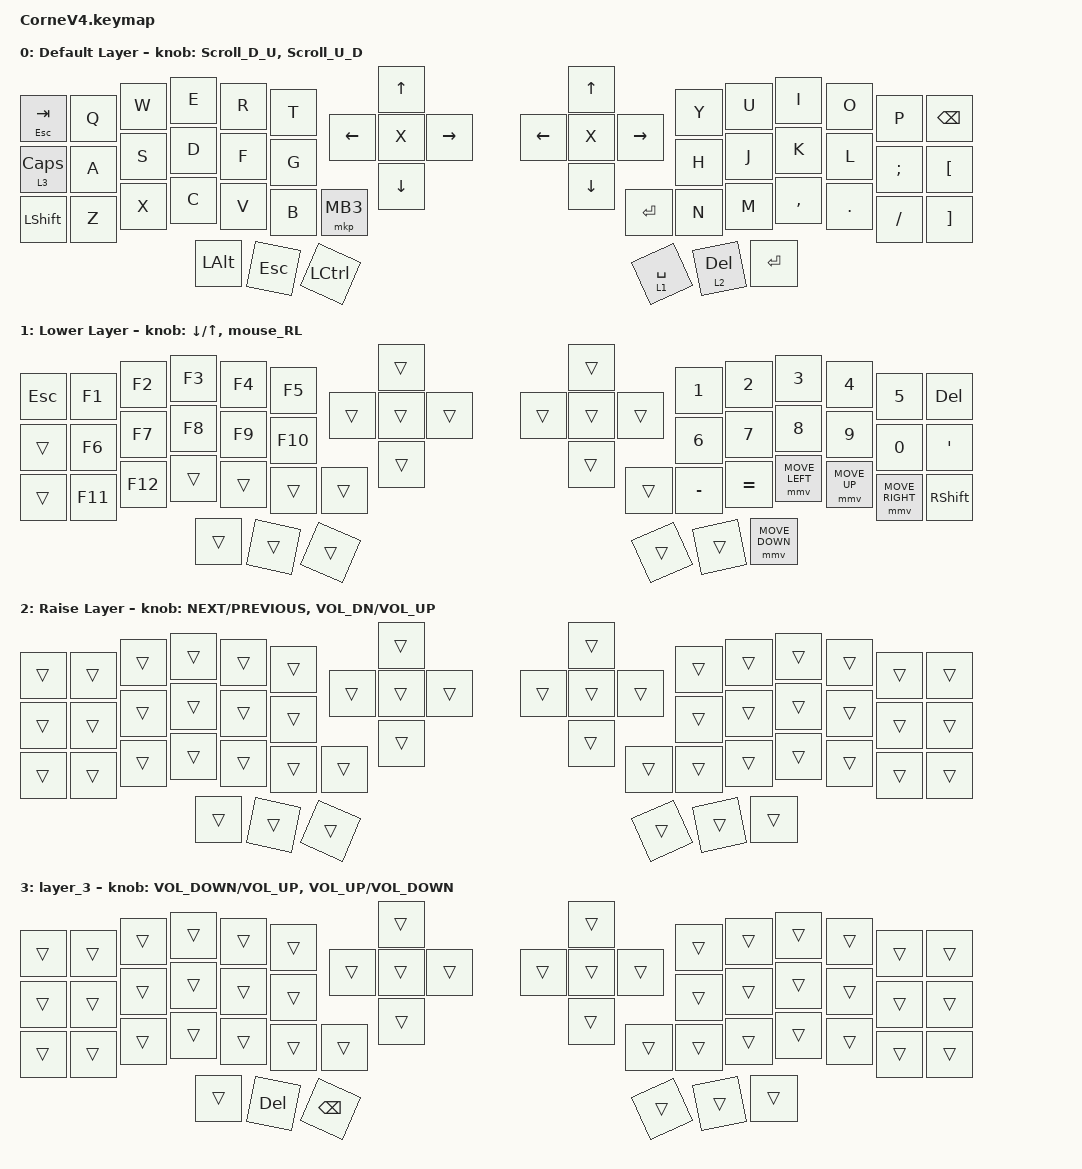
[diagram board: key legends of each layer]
/*
 * Copyright (c) 2020 The ZMK Contributors
 *
 * SPDX-License-Identifier: MIT
 */

#include <input/processors.dtsi>
#include <zephyr/dt-bindings/input/input-event-codes.h>
#include <dt-bindings/zmk/mouse.h>
#include <behaviors/mouse_keys.dtsi>
#include <behaviors.dtsi>
#include <dt-bindings/zmk/bt.h>
#include <dt-bindings/zmk/keys.h>
#include <dt-bindings/zmk/pointing.h>

#define ZMK_POINTING_DEFAULT_MOVE_VAL 200  // 600
#define ZMK_POINTING_DEFAULT_SCRL_VAL 900   // mousescroll SPEED

&mmv_input_listener { input-processors = <&zip_xy_scaler 2 1>; };

&msc_input_listener { input-processors = <&zip_scroll_scaler 2 1>; };

&msc {
    acceleration-exponent = <1>;      // 0
    time-to-max-speed-ms = <100>;       // 300
    delay-ms = <0>;                   // 0
};

&mmv {
    time-to-max-speed-ms = <500>;       //500    
    acceleration-exponent = <0>;
    trigger-period-ms = <16>;
};

&soft_off {
    hold-time-ms = <3000>; // Only turn off it the key is held for 3 seconds or longer.
};

&mt {
    tapping-term-ms = <300>;
    flavor = "tap-preferred";
};

&lt { tapping-term-ms = <300>; };

/ {
    behaviors {
        Scroll_D_U: Scroll_D_U {
            compatible = "zmk,behavior-sensor-rotate";
            label = "SCROLL_D_U";
            #sensor-binding-cells = <0>;
            bindings = <&msc SCRL_DOWN>, <&msc SCRL_UP>;

            tap-ms = <20>;
        };

        TD01: TD01 {
            compatible = "zmk,behavior-tap-dance";
            label = "TD01";
            #binding-cells = <0>;
            bindings = <&kp MINUS>, <&kp PERIOD>;
        };

        Scroll_U_D: Scroll_U_D {
            compatible = "zmk,behavior-sensor-rotate";
            label = "SCROLL_U_D";
            #sensor-binding-cells = <0>;
            bindings = <&msc SCRL_UP>, <&msc SCRL_DOWN>;

            tap-ms = <20>;
        };

        Scroll_LR: Scroll_LR {
            compatible = "zmk,behavior-sensor-rotate";
            label = "SCROLL_LR";
            #sensor-binding-cells = <0>;
            bindings = <&msc SCRL_LEFT>, <&msc SCRL_RIGHT>;

            tap-ms = <20>;
        };

        Scroll_RL: Scroll_RL {
            compatible = "zmk,behavior-sensor-rotate";
            label = "SCROLL_RL";
            #sensor-binding-cells = <0>;
            bindings = <&msc SCRL_RIGHT>, <&msc SCRL_LEFT>;

            tap-ms = <20>;
        };

        mouse_DU: mouse_DU {
            compatible = "zmk,behavior-sensor-rotate";
            label = "MOUSE_DU";
            #sensor-binding-cells = <0>;
            bindings = <&mmv MOVE_Y(100)>, <&mmv MOVE_Y(-100)>;

            tap-ms = <50>;
        };

        mouse_RL: mouse_RL {
            compatible = "zmk,behavior-sensor-rotate";
            label = "MOUSE_RL";
            #sensor-binding-cells = <0>;
            bindings = <&mmv MOVE_X(100)>, <&mmv MOVE_X(-100)>;

            tap-ms = <50>;
        };
    };

    combos {
        compatible = "zmk,combos";

        Combo_CLR_BT {
            bindings = <&bt BT_CLR_ALL>;
            key-positions = <13 0>;
            layers = <1>;
        };
    };

    keymap {
        compatible = "zmk,keymap";

        default_layer {
            display-name = "Default Layer";
            bindings = <
&mt ESC TAB  &kp Q  &kp W     &kp E    &kp R      &kp T     &kp UP     &kp UP     &kp Y      &kp U        &kp I      &kp O      &kp P     &kp BSPC
&lt 3 CAPS   &kp A  &kp S     &kp D    &kp F      &kp G     &kp LEFT   &kp RIGHT  &kp H      &kp J        &kp K      &kp L      &kp SEMI  &kp LBKT
&kp LSHFT    &kp Z  &kp X     &kp C    &kp V      &kp B     &kp RIGHT  &kp LEFT   &kp N      &kp M        &kp COMMA  &kp DOT    &kp FSLH  &kp RBKT
&kp X               &kp LALT  &kp ESC  &kp LCTRL  &mkp MB3  &kp DOWN   &kp DOWN   &kp ENTER  &lt 1 SPACE  &lt 2 DEL  &kp ENTER            &kp X
            >;

            sensor-bindings = <&Scroll_D_U>, <&Scroll_U_D>;
        };

        lower_layer {
            display-name = "Lower Layer";
            bindings = <
&kp ESC  &kp F1   &kp F2   &kp F3  &kp F4  &kp F5   &trans  &trans  &kp N1     &kp N2     &kp N3          &kp N4          &kp N5           &kp DEL
&trans   &kp F6   &kp F7   &kp F8  &kp F9  &kp F10  &trans  &trans  &kp N6     &kp N7     &kp N8          &kp N9          &kp N0           &kp SQT
&trans   &kp F11  &kp F12  &trans  &trans  &trans   &trans  &trans  &kp MINUS  &kp EQUAL  &mmv MOVE_LEFT  &mmv MOVE_UP    &mmv MOVE_RIGHT  &kp RSHFT
&trans            &trans   &trans  &trans  &trans   &trans  &trans  &trans     &trans     &trans          &mmv MOVE_DOWN                   &trans
            >;

            sensor-bindings = <&inc_dec_kp DOWN UP_ARROW>, <&mouse_RL>;
        };

        raise_layer {
            display-name = "Raise Layer";
            bindings = <
&trans  &trans  &trans  &trans  &trans  &trans  &trans  &trans  &trans  &trans  &trans  &trans  &trans  &trans
&trans  &trans  &trans  &trans  &trans  &trans  &trans  &trans  &trans  &trans  &trans  &trans  &trans  &trans
&trans  &trans  &trans  &trans  &trans  &trans  &trans  &trans  &trans  &trans  &trans  &trans  &trans  &trans
&trans          &trans  &trans  &trans  &trans  &trans  &trans  &trans  &trans  &trans  &trans          &trans
            >;

            sensor-bindings =
                <&inc_dec_kp C_NEXT C_PREVIOUS>,
                <&inc_dec_kp C_VOL_DN C_VOL_UP>;
        };

        layer_3 {
            bindings = <
&trans  &trans  &trans  &trans   &trans    &trans  &trans  &trans  &trans  &trans  &trans  &trans  &trans  &trans
&trans  &trans  &trans  &trans   &trans    &trans  &trans  &trans  &trans  &trans  &trans  &trans  &trans  &trans
&trans  &trans  &trans  &trans   &trans    &trans  &trans  &trans  &trans  &trans  &trans  &trans  &trans  &trans
&trans          &trans  &kp DEL  &kp BSPC  &trans  &trans  &trans  &trans  &trans  &trans  &trans          &trans
            >;

            sensor-bindings =
                <&inc_dec_kp C_VOLUME_DOWN C_VOLUME_UP>,
                <&inc_dec_kp C_VOLUME_UP C_VOLUME_DOWN>;
        };
    };
};
